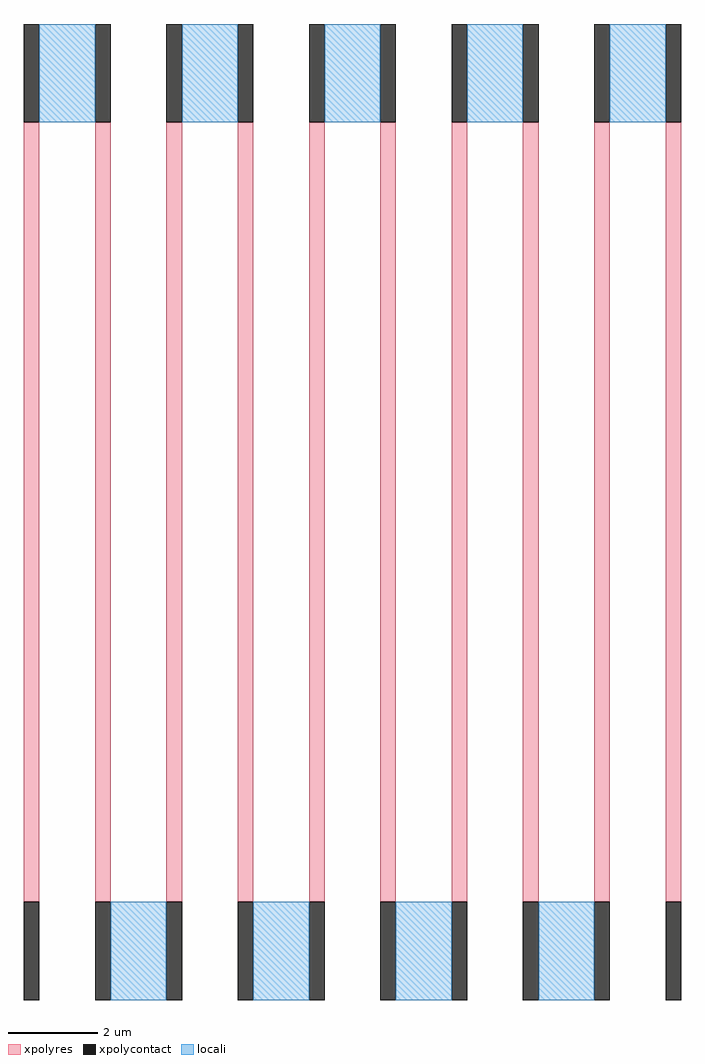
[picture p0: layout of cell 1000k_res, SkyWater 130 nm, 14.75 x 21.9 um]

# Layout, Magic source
magic
tech sky130A
<< xpolycontact >>
rect 0 1970 35 2190
rect 0 0 35 220
rect 160 1970 195 2190
rect 160 0 195 220
rect 320 1970 355 2190
rect 320 0 355 220
rect 480 1970 515 2190
rect 480 0 515 220
rect 640 1970 675 2190
rect 640 0 675 220
rect 800 1970 835 2190
rect 800 0 835 220
rect 960 1970 995 2190
rect 960 0 995 220
rect 1120 1970 1155 2190
rect 1120 0 1155 220
rect 1280 1970 1315 2190
rect 1280 0 1315 220
rect 1440 1970 1475 2190
rect 1440 0 1475 220
<< xpolyres >>
rect 0 220 35 1970
rect 160 220 195 1970
rect 320 220 355 1970
rect 480 220 515 1970
rect 640 220 675 1970
rect 800 220 835 1970
rect 960 220 995 1970
rect 1120 220 1155 1970
rect 1280 220 1315 1970
rect 1440 220 1475 1970
<< locali >>
rect 35 1970 160 2190
rect 355 1970 480 2190
rect 675 1970 800 2190
rect 995 1970 1120 2190
rect 1315 1970 1440 2190
rect 195 0 320 220
rect 515 0 640 220
rect 835 0 960 220
rect 1155 0 1280 220
<< end >>
